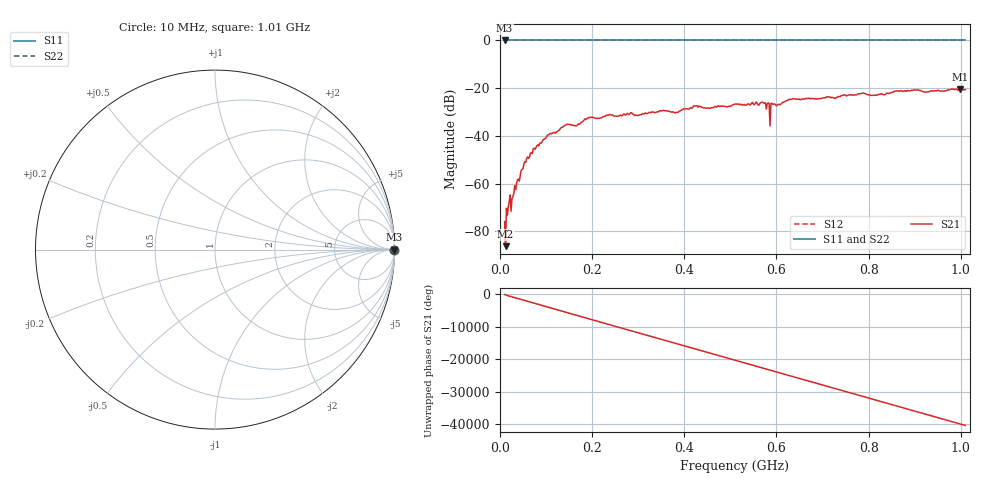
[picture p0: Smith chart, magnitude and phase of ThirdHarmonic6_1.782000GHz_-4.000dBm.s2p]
! 8/16/2025 9:32:25 PM
! C:\ANRITSUVNA\TEMP\TEMP.S2P
! CHANNEL.1
! TR.MEASUREMENT
! RAW.DATA
! RF.CORRECTION.OFF
! AVERAGING.OFF
! IF.BANDWIDTH: 5KHZ
! SWEEPTYPE:  FREQ.SWEEP(Linear)
! Reference Plane Port Info
! PORT:  PORT1  PORT2
! DISTANCE:  0  m  0  m
! TIME:  0  s  0  s
! PHASE.OFFSET:  0  deg.  0  deg.
! LOSS:  0  dB  0  dB
! REF.LOSS:  0  dB  0  dB
! REF.FREQ:  0  Hz  0  Hz
! Power Info
! POWER:  -20  dBm  -20  dBm
! EFF.POWER:  -20  dBm  -20  dBm
! SOURCE.ATTEN:  0  dB  0  dB
! TEST.ATTEN:  0  dB  0  dB
# GHZ S RI R 50.0
! FREQ.GHZ  S11RE  S11IM  S21RE  S21IM  S12RE  S12IM  S22RE  S22IM
!; PortSelection: Port_12
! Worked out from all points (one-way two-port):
!   501 points, 10 MHz to 1.01 GHz, reference 50 ohm
!   highest |S21| = -20.29 dB at 998 MHz (marker M1); lowest = -86.2 dB at 12 MHz (marker M2)
!   lowest |S11| = 0.0 dB at 10 MHz (marker M3)
!   |S11| at or under -10 dB: nowhere
!   |S22| runs from 0.0 to 0.0 dB; largest |S21 - S12| = 1.1
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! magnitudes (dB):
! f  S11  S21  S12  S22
! 10 MHz  0.0  -75.9  0.0  0.0
! 12 MHz  0.0  -86.2  0.0  0.0
! 18 MHz  0.0  -69.8  0.0  0.0
! 28 MHz  0.0  -65.5  0.0  0.0
! 50 MHz  0.0  -53.7  0.0  0.0
! 70 MHz  0.0  -47.4  0.0  0.0
! 106 MHz  0.0  -39.5  0.0  0.0
! 144 MHz  0.0  -35.3  0.0  0.0
! 178 MHz  0.0  -34.2  0.0  0.0
! 196 MHz  0.0  -32.2  0.0  0.0
! 344 MHz  0.0  -29.9  0.0  0.0
! 510 MHz  0.0  -26.7  0.0  0.0
! 572 MHz  0.0  -26.2  0.0  0.0
! 580 MHz  0.0  -26.5  0.0  0.0
! 582 MHz  0.0  -26.2  0.0  0.0
! 590 MHz  0.0  -26.3  0.0  0.0
! 592 MHz  0.0  -26.8  0.0  0.0
! 630 MHz  0.0  -24.7  0.0  0.0
! 678 MHz  0.0  -24.4  0.0  0.0
! 844 MHz  0.0  -22.2  0.0  0.0
! 998 MHz  0.0  -20.3  0.0  0.0
! 1.01 GHz  0.0  -20.6  0.0  0.0
